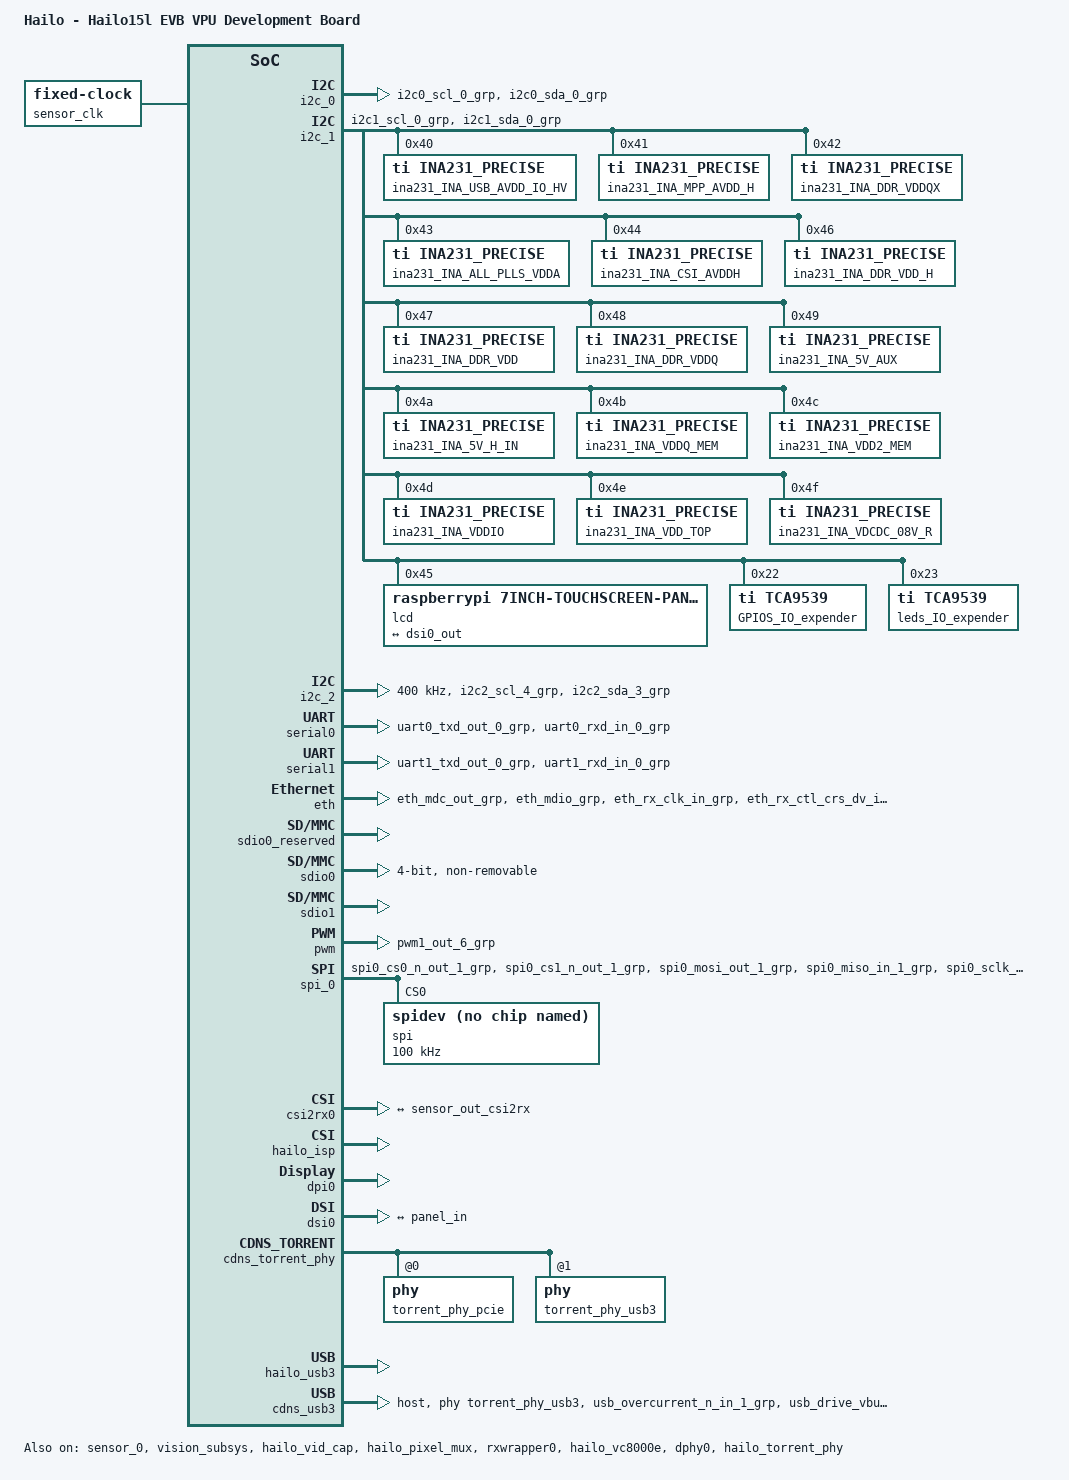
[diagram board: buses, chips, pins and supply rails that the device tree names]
// SPDX-License-Identifier:     GPL-2.0
/*
 * Copyright (c) 2019-2024 Hailo Technologies Ltd. All rights reserved.
 */

/dts-v1/;
#include "hailo15l-base.dtsi"

/ {
    model = "Hailo - Hailo15l EVB VPU Development Board";
};

&i2c_0 {
    status = "okay";
    i2c-sda-falling-time-ns = <1000>;
    pinctrl-names = "default";
    pinctrl-0 = <&pinctrl_i2c0_scl>, <&pinctrl_i2c0_sda>;
};

&sensor_0 {
    status = "ok";
    reset-gpios = <&gpio0 4 GPIO_ACTIVE_HIGH>;
};

&i2c_1 {
    status = "okay";
    i2c-sda-falling-time-ns = <1000>;
    pinctrl-names = "default";
    pinctrl-0 = <&pinctrl_i2c1_scl>, <&pinctrl_i2c1_sda>;
/* Todo -  IV&P sensor, M.2 Ekey, Audio codec, clock buffer, DCDC, Gyro */
//    codec_tlv320aic3104: tlv320aic3104@18 {
//        #sound-dai-cells = <0>;
//        compatible = "ti,tlv320aic3104";
//        reg = <0x18>;
//        /* @note, If using I2S Controller mode as:
//         * - Master: set: ai3x-source-clk = "bclk";
//         * - Slave: set: ai3x-source-clk = "mclk";
//         */
//
//        ai3x-source-clk = "bclk";
//        ai3x-micbias-vg = <2>;
//		/* Regulators */
//		AVDD-supply = <&regulator_3p3v>;
//		IOVDD-supply = <&regulator_1p8v>;
//		DRVDD-supply = <&regulator_3p3v>;
//		DVDD-supply = <&regulator_1p8v>;
//    };
    ina231_INA_USB_AVDD_IO_HV: INA_USB_AVDD_IO_HV@40 {
        compatible = "ti,ina231_precise";
        reg = <0x40>;
        shunt-resistor = <100000>;
        max-current = <55>;
    };
    ina231_INA_MPP_AVDD_H: INA_MPP_AVDD_H@41 {
        compatible = "ti,ina231_precise";
        reg = <0x41>;
        shunt-resistor = <100000>;
        max-current = <11>;
    };
    ina231_INA_DDR_VDDQX: INA_DDR_VDDQX@42 {
        compatible = "ti,ina231_precise";
        reg = <0x42>;
        shunt-resistor = <50000>;
        max-current = <330>;
    };
    ina231_INA_ALL_PLLS_VDDA: INA_ALL_PLLS_VDDA@43 {
        compatible = "ti,ina231_precise";
        reg = <0x43>;
        shunt-resistor = <100000>;
        max-current = <16>;
    };
    ina231_INA_CSI_AVDDH: INA_CSI_AVDDH@44 {
        compatible = "ti,ina231_precise";
        reg = <0x44>;
        shunt-resistor = <100000>;
        max-current = <71>;
    };
    ina231_INA_DDR_VDD_H: INA_DDR_VDD_H@46 {
        compatible = "ti,ina231_precise";
        reg = <0x46>;
        shunt-resistor = <100000>;
        max-current = <110>;
    };
    ina231_INA_DDR_VDD: INA_DDR_VDD@47 {
        compatible = "ti,ina231_precise";
        reg = <0x47>;
        shunt-resistor = <50000>;
        max-current = <1600>;
    };
    ina231_INA_DDR_VDDQ: INA_DDR_VDDQ@48 {
        compatible = "ti,ina231_precise";
        reg = <0x48>;
        shunt-resistor = <10000>;
        //max-current = <0>;
        max-current = <300>;
    };
    ina231_INA_5V_AUX: INA_5V_AUX@49 {
        compatible = "ti,ina231_precise";
        reg = <0x49>;
        shunt-resistor = <1000>;
        max-current = <3850>;
    };
    ina231_INA_5V_H_IN: INA_5V_H_IN@4A {
        compatible = "ti,ina231_precise";
        reg = <0x4A>;
        shunt-resistor = <1000>;
        max-current = <2970>;
    };
    ina231_INA_VDDQ_MEM: INA_VDDQ_MEM@4B {
        compatible = "ti,ina231_precise";
        reg = <0x4B>;
        shunt-resistor = <50000>;
        max-current = <138>;
    };
    ina231_INA_VDD2_MEM: INA_VDD2_MEM@4C {
        compatible = "ti,ina231_precise";
        reg = <0x4C>;
        shunt-resistor = <10000>;
        max-current = <440>;
    };
    ina231_INA_VDDIO: INA_VDDIO@4D {
        compatible = "ti,ina231_precise";
        reg = <0x4D>;
        shunt-resistor = <100000>;
        max-current = <154>;
    };
    ina231_INA_VDD_TOP: INA_VDD_TOP@4E {
        compatible = "ti,ina231_precise";
        reg = <0x4E>;
        shunt-resistor = <1000>;
        max-current = <11000>;
    };
    ina231_INA_VDCDC_08V_R: INA_VDCDC_08V_R@4F {
        compatible = "ti,ina231_precise";
        reg = <0x4F>;
        shunt-resistor = <50000>;
        max-current = <280>;
    };

    lcd@45 {
        status = "okay";
        compatible = "raspberrypi,7inch-touchscreen-panel";
        reg = <0x45>;
        port {
            panel_in: endpoint {
                remote-endpoint = <&dsi0_out>;
                };
        };
    };

    GPIOS_IO_expender: tca9535@22 {
        compatible = "ti,tca9539";
        reg = <0x22>;
        gpio-controller;
        #gpio-cells = <2>; // For GPIO number and flags

        gpio-line-names =
            "CSI_AVDDH_ALRT", "VDDIO_ALRT", "VDD_TOP_ALRT_D", "POWER_INT3",
            "0V8_ALRT", "DDR_VDDQ_ALRT", "ALL_PLLS_VDDA_ALRT", "DDR_VDD_H_ALRT",
            "DDR_VDD_ALRT", "DDR_VDDQX_ALRT", "USB_AVDD_IO_HV_ALRT", "POWER_INT11",
            "5V_H_IN_ALRT_D", "5V_AUX_ALRT", "PG_M2_M", "MPP_AVDD_H_ALRT";
    };

    leds_IO_expender: tca9535@23 {
        compatible = "ti,tca9539";
        reg = <0x23>;
        gpio-controller;
        #gpio-cells = <2>; // For GPIO number and flags

        gpio-line-names =
              "DDR_DATA_RET_3V3", "D7_RED", "D9_GREEN", "D11_GREEN",
              "D14_GREEN", "D6_GREEN", "D23_GREEN", "D22_GREEN",
              "D21_GREEN", "D20_RED", "D19_GREEN", "D17_RED",
              "D15_GREEN", "D10_RED", "D8_GREEN", "D6_RED";
    };
};


&i2c_2 {
    status = "ok";
    clock-frequency = <400000>;
    pinctrl-names = "default";
    pinctrl-0 = <&pinctrl_gpio_16>, <&pinctrl_gpio_17>;
    i2c-sda-falling-time-ns = <190>;

//    codec_tlv320aic3104: tlv320aic3104@18 {
//        #sound-dai-cells = <0>;
//        compatible = "ti,tlv320aic3104";
//        reg = <0x18>;
//        /* @note, If using I2S Controller mode as:
//         * - Master: set: ai3x-source-clk = "bclk";
//         * - Slave: set: ai3x-source-clk = "mclk";
//         */
//
//        ai3x-source-clk = "bclk";
//        ai3x-micbias-vg = <2>;
//		/* Regulators */
//		AVDD-supply = <&regulator_3p3v>;
//		IOVDD-supply = <&regulator_1p8v>;
//		DRVDD-supply = <&regulator_3p3v>;
//		DVDD-supply = <&regulator_1p8v>;
//    };

};

&serial0 {
    status = "okay";
    pinctrl-names = "default";
    pinctrl-0 = <&pinctrl_uart0_txd>, <&pinctrl_uart0_rxd>;
};

&serial1 {
    status = "okay";
    pinctrl-names = "default";
    pinctrl-0 = <&pinctrl_uart1_txd>, <&pinctrl_uart1_rxd>;
};

&eth {
    status = "okay";
    pinctrl-names = "default";
    pinctrl-0 = <&pinctrl_eth_mdc>,
                <&pinctrl_eth_mdio>,
                <&pinctrl_eth_rx_clk>,
                <&pinctrl_eth_rx_ctl_dv>,
                <&pinctrl_eth_rxd0>,
                <&pinctrl_eth_rxd1>,
                <&pinctrl_eth_rxd2>,
                <&pinctrl_eth_rxd3>,
                <&pinctrl_eth_tx_clk>,
                <&pinctrl_eth_tx_ctl_en>,
                <&pinctrl_eth_txd_0>,
                <&pinctrl_eth_txd_1>,
                <&pinctrl_eth_txd_2>,
                <&pinctrl_eth_txd_3>;
};


&sdio0_reserved {
    status = "okay";
};

&sdio0 {
    status = "okay";
    non-removable;
    sdhci-caps = <0 0x01000000>; // Force VOLT33 capability
    bus-width = <4>;
    phy-config {
            card-is-emmc = <0x0>;
            cmd-pad-values = <0x1 0x3 0x1 0x1>; // txslew_ctrl_n, txslew_ctrl_p, weakpull_enable, rxsel
            dat-pad-values = <0x1 0x3 0x1 0x1>; // txslew_ctrl_n, txslew_ctrl_p, weakpull_enable, rxsel
            rst-pad-values = <0x1 0x3 0x1 0x1>; // txslew_ctrl_n, txslew_ctrl_p, weakpull_enable, rxsel
            clk-pad-values = <0x1 0x3 0x0 0x1>; // txslew_ctrl_n, txslew_ctrl_p, weakpull_enable, rxsel
            sdclkdl-cnfg = <0x1 0x7F>; //extdly_en, cckdl_dc
            drive-strength = <0x9 0x8>; //pad_sp, pad_sn
    };
};

&sdio1 {
    status = "okay";
    phy-config {
            card-is-emmc = <0x1>;
            cmd-pad-values = <0x2 0x2 0x1 0x1>; // txslew_ctrl_n, txslew_ctrl_p, weakpull_enable, rxsel
            dat-pad-values = <0x2 0x2 0x1 0x1>; // txslew_ctrl_n, txslew_ctrl_p, weakpull_enable, rxsel
            rst-pad-values = <0x2 0x2 0x1 0x1>; // txslew_ctrl_n, txslew_ctrl_p, weakpull_enable, rxsel
            clk-pad-values = <0x2 0x2 0x0 0x0>; // txslew_ctrl_n, txslew_ctrl_p, weakpull_enable, rxsel
            sdclkdl-cnfg = <0x1 0x59>; //extdly_en, cckdl_dc
            drive-strength = <0x9 0x8>; //pad_sp, pad_sn
            u-boot,dm-spl;
    };
};

&pwm {
    status = "okay";
    hailo15_pwm,supported-channels = <1>;
    pinctrl-names = "default";
    pinctrl-0 = <&pinctrl_gpio_31>;
};

&spi_0 {
    status = "okay";
    pinctrl-names = "default";
    pinctrl-0 = <&pinctrl_gpio_20>,
                <&pinctrl_gpio_21>,
                <&pinctrl_gpio_24>,
                <&pinctrl_gpio_25>,
                <&pinctrl_gpio_26>;
    spi@0 {
        compatible = "spidev";
        reg = <0>;
        spi-max-frequency = <100000>;
    };
};

&csi2rx0 {
    status = "ok";
    ports {
        port@0 {
            csi2rx_in_sensor: endpoint {
                remote-endpoint = <&sensor_out_csi2rx>;
            };
        };
    };
};

&vision_subsys {
    status = "okay";
};

&hailo_vid_cap {
    status = "ok";
};

&hailo_isp {
    status = "ok";
};

&hailo_pixel_mux {
    status = "ok";
};

&rxwrapper0 {
    status = "ok";
};

/ {
    sensor_clk: sensor_clk {
        compatible = "fixed-clock";
        #clock-cells = <0>;
        clock-frequency = <24000000>;
    };
};

&hailo_vc8000e {
    status = "ok";
};

&dphy0 {
    status = "okay";
};

&dpi0 {
    status = "okay";
};

&dsi0 {
    status = "okay";
    ports {
        port@0 {
            reg = <0>;
            dsi0_out: endpoint {
                remote-endpoint = <&panel_in>;
            };
        };
    };
};

&hailo_torrent_phy {
    status = "okay";
    compatible = "hailo15l,torrent-phy";
    usb-lane = <1>;
    usb-lane-pma-pll-full-rate-divider = <PCI_PMA_PLL_FULL_RATE_CLK_DIVIDER_4>;
    lanes-config = <PCI_PHY_LINK_LANES_CFG__2x1_PLUS_1x2__MASTER_LANES_LN0_LN1_LN2>;
};

&cdns_torrent_phy {
    torrent_phy_pcie: phy@0 {
        reg = <0>;
        resets = <&scmi_reset HAILO15_SCMI_RESET_IDX_PCIE_PHY_LANE_0>;
        #phy-cells = <0>;
        cdns,phy-type = <PHY_TYPE_PCIE>;
        cdns,num-lanes = <1>;
    };
    torrent_phy_usb3: phy@1 {
        reg = <1>;
        resets = <&scmi_reset HAILO15_SCMI_RESET_IDX_PCIE_PHY_LANE_1>;
        #phy-cells = <0>;
        cdns,phy-type = <PHY_TYPE_USB3>;
        cdns,num-lanes = <1>;
        cdns,ssc-mode = <TORRENT_SERDES_NO_SSC>;
    };
};

&hailo_usb3 {
    status = "okay";
};

&cdns_usb3 {
    dr_mode = "host";
    phys = <&torrent_phy_usb3>;
    phy-names = "cdns3,usb3-phy";
    pinctrl-names = "default";
    pinctrl-0 = <&pinctrl_gpio_1>, <&pinctrl_usb_drive_vbus>;
};

&pinctrl {
    early-assignment-pin-groups =
        "uart0_rxd_in_0_grp",
        "uart0_txd_out_0_grp",
        "uart1_rxd_in_0_grp",
        "uart1_txd_out_0_grp";

 /* IO_PAD_0 */
    pinctrl_i2c0_scl: i2c0_scl {
        function = "i2c0_scl";
        groups = "i2c0_scl_0_grp";
        drive-strength = <8>;
    };

    /* IO_PAD_1 */
    pinctrl_i2c0_sda: i2c0_sda {
        function = "i2c0_sda";
        groups = "i2c0_sda_0_grp";
        drive-strength = <8>;
    };

    /* IO_PAD_2 */
    pinctrl_i2c1_scl: i2c1_scl {
        function = "i2c1_scl";
        groups = "i2c1_scl_0_grp";
        drive-strength = <8>;
    };

    /* IO_PAD_3 */
    pinctrl_i2c1_sda: i2c1_sda {
        function = "i2c1_sda";
        groups = "i2c1_sda_0_grp";
        drive-strength = <8>;
    };

    /* IO_PAD_4 */
    pinctrl_uart0_rxd: uart0_rxd {
        function = "uart0_rxd_in";
        groups = "uart0_rxd_in_0_grp";
    };

    /* IO_PAD_5 */
    pinctrl_uart0_txd: uart0_txd {
        function = "uart0_txd_out";
        groups = "uart0_txd_out_0_grp";
    };

    /* IO_PAD_6 */
    pinctrl_uart1_rxd: uart1_rxd {
        function = "uart1_rxd_in";
        groups = "uart1_rxd_in_0_grp";
    };

    /* IO_PAD_7 */
    pinctrl_uart1_txd: uart1_txd {
        function = "uart1_txd_out";
        groups = "uart1_txd_out_0_grp";
    };

    /* IO_PAD_8 */
    pinctrl_eth_mdc: eth_mdc_out {
        function = "eth_mdc_out";
        groups = "eth_mdc_out_grp";
    };

    /* IO_PAD_9 */
    pinctrl_eth_mdio: eth_mdio {
        function = "eth_mdio";
        groups = "eth_mdio_grp";
    };

    /* IO_PAD_10 */
    pinctrl_eth_rx_clk: eth_rx_clk_in {
        function = "eth_rx_clk_in";
        groups = "eth_rx_clk_in_grp";
    };

    /* IO_PAD_11 */
    pinctrl_eth_rx_ctl_dv: eth_rx_ctl_dv_in {
        function = "eth_rx_ctl_crs_dv_in";
        groups = "eth_rx_ctl_crs_dv_in_grp";
    };

    /* IO_PAD_12 */
    pinctrl_eth_rxd0: eth_rxd_0_in {
        function = "eth_rxd_0_in";
        groups = "eth_rxd_0_in_grp";
    };

    /* IO_PAD_13 */
    pinctrl_eth_rxd1: eth_rxd_1_in {
        function = "eth_rxd_1_in";
        groups = "eth_rxd_1_in_grp";
    };

    /* IO_PAD_14 */
    pinctrl_eth_rxd2: eth_rxd_2_in {
        function = "eth_rxd_2_in";
        groups = "eth_rxd_2_in_grp";
    };

    /* IO_PAD_15 */
    pinctrl_eth_rxd3: eth_rxd_3_in {
        function = "eth_rxd_3_in";
        groups = "eth_rxd_3_in_grp";
    };

    /* IO_PAD_16 */
    pinctrl_eth_tx_clk: eth_tx_clk {
        function = "eth_tx_clk_out";
        groups = "eth_tx_clk_out_grp";
        drive-strength = <2>;
    };

    /* IO_PAD_17 */
    pinctrl_eth_tx_ctl_en: eth_tx_ctl_en {
        function = "eth_tx_ctl_en_out";
        groups = "eth_tx_ctl_en_out_grp";
        drive-strength = <2>;
    };

    /* IO_PAD_18 */
    pinctrl_eth_txd_0: eth_txd_0 {
        function = "eth_txd_0_out";
        groups = "eth_txd_0_out_grp";
        drive-strength = <2>;
    };

    /* IO_PAD_19 */
    pinctrl_eth_txd_1: eth_txd_1 {
        function = "eth_txd_1_out";
        groups = "eth_txd_1_out_grp";
        drive-strength = <2>;
    };

    /* IO_PAD_20 */
    pinctrl_eth_txd_2: eth_txd_2 {
        function = "eth_txd_2_out";
        groups = "eth_txd_2_out_grp";
        drive-strength = <2>;
    };

    /* IO_PAD_21 */
    pinctrl_eth_txd_3: eth_txd_3 {
        function = "eth_txd_3_out";
        groups = "eth_txd_3_out_grp";
        drive-strength = <2>;
    };

    /* IO_PAD_22 */
    pinctrl_i2s0_sck: i2s0_sck {
        function = "i2s0_sck";
        groups = "i2s0_sck_0_grp";
    };

    /* IO_PAD_23 */
    pinctrl_i2s0_sdi: i2s0_sdi0 {
        function = "i2s0_sdi0_in";
        groups = "i2s0_sdi0_in_0_grp";
    };

    /* IO_PAD_24 */
    pinctrl_i2s0_sdo: i2s0_sdo0 {
        function = "i2s0_sdo0_out";
        groups = "i2s0_sdo0_out_0_grp";
    };

    /* IO_PAD_25 */
    pinctrl_i2s0_ws: i2s0_ws {
        function = "i2s0_ws";
        groups = "i2s0_ws_0_grp";
    };

    /* IO_PAD_26 */
	pinctrl_flash_cs0_n: flash_cs0_n_out {
	    function = "flash_spi_cs_0_n_out";
        groups = "flash_spi_cs_0_n_out_grp";
    };

    /* IO_PAD_27 */
    pinctrl_flash_cs1_n: flash_cs1_n_out {
	    function = "flash_spi_cs_1_n_out";
        groups = "flash_spi_cs_1_n_out_grp";
    };

    /* IO_PAD_28 */
    pinctrl_flash_cs2_n: flash_cs2_n_out {
	    function = "flash_spi_cs2n_clkc_rebar_out";
        groups = "flash_spi_cs2n_clkc_rebar_out_grp";
    };

    /* IO_PAD_29 */
    pinctrl_flash_ds: flash_ds_in {
	    function = "flash_spi_ds_cs3n_lpbk";
        groups = "flash_spi_ds_cs3n_lpbk_grp";
    };

    /* IO_PAD_30 */
    pinctrl_flash_dq_0_mosi: flash_dq_0_mosi_in {
	    function = "flash_spi_dq_0";
        groups = "flash_spi_dq_0_grp";
    };

    /* IO_PAD_31 */
    pinctrl_flash_dq_1_miso: flash_dq_1_miso_in {
	    function = "flash_spi_dq_1";
        groups = "flash_spi_dq_1_grp";
    };

    /* IO_PAD_32 */
    pinctrl_flash_dq_2: flash_dq_2_in {
	    function = "flash_spi_dq_2";
        groups = "flash_spi_dq_2_grp";
    };

    /* IO_PAD_33 */
    pinctrl_flash_dq_3: flash_dq_3_in {
	    function = "flash_spi_dq_3";
        groups = "flash_spi_dq_3_grp";
    };

    /* IO_PAD_34 */
    pinctrl_flash_reset_n: flash_reset_n_out {
	    function = "flash_spi_reset_n_out";
        groups = "flash_spi_reset_n_out_grp";
    };

    /* IO_PAD_35 */
    pinctrl_flash_sclk: flash_sclk_out {
	    function = "flash_spi_sclk_out";
        groups = "flash_spi_sclk_out_grp";
    };

    /* IO_PAD_36 */
    pinctrl_pcie_wake_n: pcie_wake_n {
        function = "pcie_wake_n";
        groups = "pcie_wake_n_grp";
    };

    /* IO_PAD_37 */
    pinctrl_pcie_clkreq_n: pcie_clkreq_n {
        function = "pcie_clkreq_n";
        groups = "pcie_clkreq_n_grp";
    };

    /* IO_PAD_38 */
    pinctrl_pcie_perst_n_in: pcie_perst_n_in {
        function = "pcie_perst_n_in";
        groups = "pcie_perst_n_in_grp";
    };

    /* IO_PAD_39 */
    pinctrl_pcie_mperst_n_out: pcie_mperst_n_out {
        function = "pcie_mperst_n_out";
        groups = "pcie_mperst_n_out_grp";
    };

    /* IO_PAD_40 */
    pinctrl_SDIO0_DATA0_SDIO1_DATA4: SDIO0_DATA0_SDIO1_DATA4 {
        function = "SDIO0_DATA0_SDIO1_DATA4";
        groups = "SDIO0_DATA0_SDIO1_DATA4_grp";
    };

    /* IO_PAD_41 */
    pinctrl_SDIO0_DATA1_SDIO1_DATA5: SDIO0_DATA1_SDIO1_DATA5 {
        function = "SDIO0_DATA1_SDIO1_DATA5";
        groups = "SDIO0_DATA1_SDIO1_DATA5_grp";
    };

    /* IO_PAD_42 */
    pinctrl_SDIO0_DATA2_SDIO1_DATA6: SDIO0_DATA2_SDIO1_DATA6 {
        function = "SDIO0_DATA2_SDIO1_DATA6";
        groups = "SDIO0_DATA2_SDIO1_DATA6_grp";
    };

    /* IO_PAD_43 */
    pinctrl_SDIO0_DATA3_SDIO1_DATA7: SDIO0_DATA3_SDIO1_DATA7 {
        function = "SDIO0_DATA3_SDIO1_DATA7";
        groups = "SDIO0_DATA3_SDIO1_DATA7_grp";
    };

    /* IO_PAD_44 */
    pinctrl_SDIO0_SDCLK_SDIO1_DS: SDIO0_SDCLK_SDIO1_DS {
        function = "SDIO0_SDCLK_SDIO1_DS";
        groups = "SDIO0_SDCLK_SDIO1_DS_grp";
    };

    /* IO_PAD_45 */
    pinctrl_SDIO0_CMD_SDIO1_RSTN: SDIO0_CMD_SDIO1_RSTN {
        function = "SDIO0_CMD_SDIO1_RSTN";
        groups = "SDIO0_CMD_SDIO1_RSTN_grp";
    };

    /* IO_PAD_46 */
    pinctrl_SDIO1_DATA0: SDIO1_DATA0 {
        function = "SDIO1_DATA0";
        groups = "SDIO1_DATA0_grp";
    };

    /* IO_PAD_47 */
    pinctrl_SDIO1_DATA1: SDIO1_DATA1 {
        function = "SDIO1_DATA1";
        groups = "SDIO1_DATA1_grp";
    };

    /* IO_PAD_48 */
    pinctrl_SDIO1_DATA2: SDIO1_DATA2 {
        function = "SDIO1_DATA2";
        groups = "SDIO1_DATA2_grp";
    };

    /* IO_PAD_49 */
    pinctrl_SDIO1_DATA3: SDIO1_DATA3 {
        function = "SDIO1_DATA3";
        groups = "SDIO1_DATA3_grp";
    };

    /* IO_PAD_50 - SDIO1_CMD - non-muxable */

    /* IO_PAD_51 */
    pinctrl_SDIO1_SDCLK: SDIO1_SDCLK {
        function = "SDIO1_SDCLK";
        groups = "SDIO1_SDCLK_grp";
    };

    /* IO_PAD_52 */
    pinctrl_parallel_pclk: parallel_pclk_in {
        function = "i2s0_mclk";
        groups = "i2s0_mclk_1_grp";
    };

    /* IO_PAD_53 */
    pinctrl_usb_drive_vbus: usb_drive_vbus_out {
        function = "usb_drive_vbus_out";
        groups = "usb_drive_vbus_out_2_grp";
    };

    /* IO_PAD_54 - SAFETY_FATAL_N - non-muxable */

    /* IO_PAD_55 */
    pinctrl_jtag_tck: jtag_tck_in {
        function = "jtag_tck_in";
        groups = "jtag_tck_in_grp";
    };

    /* IO_PAD_56 */
    pinctrl_jtag_tdi: jtag_tdi_in {
        function = "jtag_tdi_in";
        groups = "jtag_tdi_in_grp";
    };

    /* IO_PAD_57 */
    pinctrl_jtag_tdo: jtag_tdo_out {
        function = "jtag_tdo_out";
        groups = "jtag_tdo_out_grp";
    };

    /* IO_PAD_58 */
    pinctrl_jtag_tms: jtag_tms {
        function = "jtag_tms";
        groups = "jtag_tms_grp";
    };

    /* IO_PAD_59 */
    pinctrl_jtag_trstn_in: jtag_trstn_in {
        function = "jtag_trstn_in";
        groups = "jtag_trstn_in_grp";
    };

    /* IO_PAD_60 */
    pinctrl_gpio_0: gpio_0 {
        function = "sdio0_uhs_sel_out";
        groups = "sdio0_uhs_sel_out_0_grp";
    };

    /* IO_PAD_61 */
    pinctrl_gpio_1: gpio_1 {
        function = "usb_overcurrent_n_in";
        groups = "usb_overcurrent_n_in_1_grp";
    };

    /* IO_PAD_62 */
    pinctrl_gpio_2: gpio_2 {
        function = "uart2_rxd_in";
        groups = "uart2_rxd_in_5_grp";
    };

    /* IO_PAD_63 */
    pinctrl_gpio_3: gpio_3 {
        function = "uart2_txd_out";
        groups = "uart2_txd_out_5_grp";
    };

    /* IO_PAD_64 - GPIO_4 - In EVB, gpio 4 pin is serving as gpio function, and connected to DSI for DSI interrupt */
    pinctrl_gpio_4: gpio_4 {
        function = "gpio4";
        groups = "gpio4_3_grp";
    };

    /* IO_PAD_65 */
    pinctrl_gpio_5: gpio_5 {
        function = "boot_rom_failure_out";
        groups = "boot_rom_failure_out_grp";
    };

    /* IO_PAD_66 */
    pinctrl_gpio_6: gpio_6 {
        function = "sdio0_vdd1_on_out";
        groups = "sdio0_vdd1_on_out_0_grp";
    };

    /* IO_PAD_67 */
    pinctrl_gpio_7: gpio_7 {
        function = "sdio0_CD_in";
        groups = "sdio0_CD_in_3_grp";
    };

    /* IO_PAD_68 - GPIO_8 - In EVB, gpio 8 pin is serving as gpio function, and connected to sensor 1 for sensor 1 reset */
    pinctrl_gpio_8: gpio_8 {
        function = "gpio8";
        groups = "gpio8_3_grp";
    };

    /* IO_PAD_68 - GPIO_9 - In EVB, gpio 9 pin is serving as gpio function, and connected to sensor 0 for sensor 0 reset */
    pinctrl_gpio_9: gpio_9 {
        function = "gpio9";
        groups = "gpio9_5_grp";
    };

    /* IO_PAD_70 - GPIO_10 - In EVB, gpio 10 pin is serving as gpio function, and connected to connectivity socket for uart wake function  */
    pinctrl_gpio_10: gpio_10 {
        function = "gpio10";
        groups = "gpio10_4_grp";
    };

    /* IO_PAD_71 - GPIO_11 - In EVB, gpio 11 pin is serving as gpio function, and connected to power circuit for shutdown function  */
    pinctrl_gpio_11: gpio_11 {
        function = "gpio11";
        groups = "gpio11_3_grp";
    };

    /* IO_PAD_72 */
    pinctrl_gpio_12: gpio_12 {
        function = "uart3_cts_in";
        groups = "uart3_cts_in_2_grp";
    };

    /* IO_PAD_73 */
    pinctrl_gpio_13: gpio_13 {
        function = "uart3_rts_out";
        groups = "uart3_rts_out_2_grp";
    };

    /* IO_PAD_74 */
    pinctrl_gpio_14: gpio_14 {
        function = "uart2_cts_in";
        groups = "uart2_cts_in_3_grp";
    };

    /* IO_PAD_75 */
    pinctrl_gpio_15: gpio_15 {
        function = "uart2_rts_out";
        groups = "uart2_rts_out_4_grp";
    };

    /* IO_PAD_76 */
    pinctrl_gpio_16: gpio_16 {
        function = "i2c2_scl";
        groups = "i2c2_scl_4_grp";
    };

    /* IO_PAD_77 */
    pinctrl_gpio_17: gpio_17 {
        function = "i2c2_sda";
        groups = "i2c2_sda_3_grp";
    };

    /* IO_PAD_78 */
    pinctrl_gpio_18: gpio_18 {
        function = "i2c3_scl";
        groups = "i2c3_scl_4_grp";
    };

    /* IO_PAD_79 */
    pinctrl_gpio_19: gpio_19 {
        function = "i2c3_sda";
        groups = "i2c3_sda_4_grp";
    };

    /* IO_PAD_80 */
    pinctrl_gpio_20: gpio_20 {
        function = "spi0_cs0_n_out";
        groups = "spi0_cs0_n_out_1_grp";
    };

    /* IO_PAD_81 */
    pinctrl_gpio_21: gpio_21 {
        function = "spi0_cs1_n_out";
        groups = "spi0_cs1_n_out_1_grp";
    };

    /* IO_PAD_82 */
    pinctrl_gpio_22: gpio_22 {
        function = "uart3_rxd_in";
        groups = "uart3_rxd_in_5_grp";
    };

    /* IO_PAD_83 */
    pinctrl_gpio_23: gpio_23 {
        function = "uart3_txd_out";
        groups = "uart3_txd_out_5_grp";
    };

    /* IO_PAD_84 */
    pinctrl_gpio_24: gpio_24 {
        function = "spi0_mosi_out";
        groups = "spi0_mosi_out_1_grp";
    };

    /* IO_PAD_85 */
    pinctrl_gpio_25: gpio_25 {
        function = "spi0_miso_in";
        groups = "spi0_miso_in_1_grp";
    };

    /* IO_PAD_86 */
    pinctrl_gpio_26: gpio_26 {
        function = "spi0_sclk_out";
        groups = "spi0_sclk_out_1_grp";
    };

    /* IO_PAD_87 - GPIO_27 - In EVB, gpio 27 pin is serving as gpio function, and connected to GP header for cold reset function */
    pinctrl_gpio_27: gpio_27 {
        function = "gpio27";
        groups = "gpio27_2_grp";
    };

    /* IO_PAD_88 */
    pinctrl_gpio_28: gpio_28 {
        function = "can1_rx_in";
        groups = "can1_rx_in_5_grp";
    };

    /* IO_PAD_89 */
    pinctrl_gpio_29: gpio_29 {
        function = "can1_tx_out";
        groups = "can1_tx_out_5_grp";
    };

    /* IO_PAD_90 */
    pinctrl_gpio_30: gpio_30 {
        function = "can0_stby_out";
        groups = "can0_stby_out_10_grp";
    };

    /* IO_PAD_91 */
    pinctrl_gpio_31: gpio_31 {
        function = "pwm1_out";
        groups = "pwm1_out_6_grp";
    };
};

#define GPIO_LINE_NAMES \
    "",                         "",                     "",                         "", \
    "gpio_4 - dsi_interrupt",   "",                     "",                         "", \
    "gpio_8 - sensor1_reset",   "gpio_9 - sensor0_reset","gpio_10 - uart_wake_n",    "gpio_11 - shutdown", \
    "",                         "",                     "",                         "", \
    \
    "",                         "",                     "",                         "", \
    "",                         "",                     "",                         "", \
    "",                         "",                     "",                         "gpio_27 - cold_reset", \
    "",                         "",                     "",                         ""


&gpio0 {
    /* The format of gpio-ranges is: <[pin controller phandle], [GPIO controller offset],
                [pin controller offset], [number of pins]>;
    */
    gpio-ranges = <&pinctrl 4 64 1>,
                  <&pinctrl 8 68 4>;

    gpio-line-names = GPIO_LINE_NAMES;
};

&gpio1 {
    gpio-ranges = <&pinctrl 11 87 1>;

    gpio-line-names = GPIO_LINE_NAMES;
};
